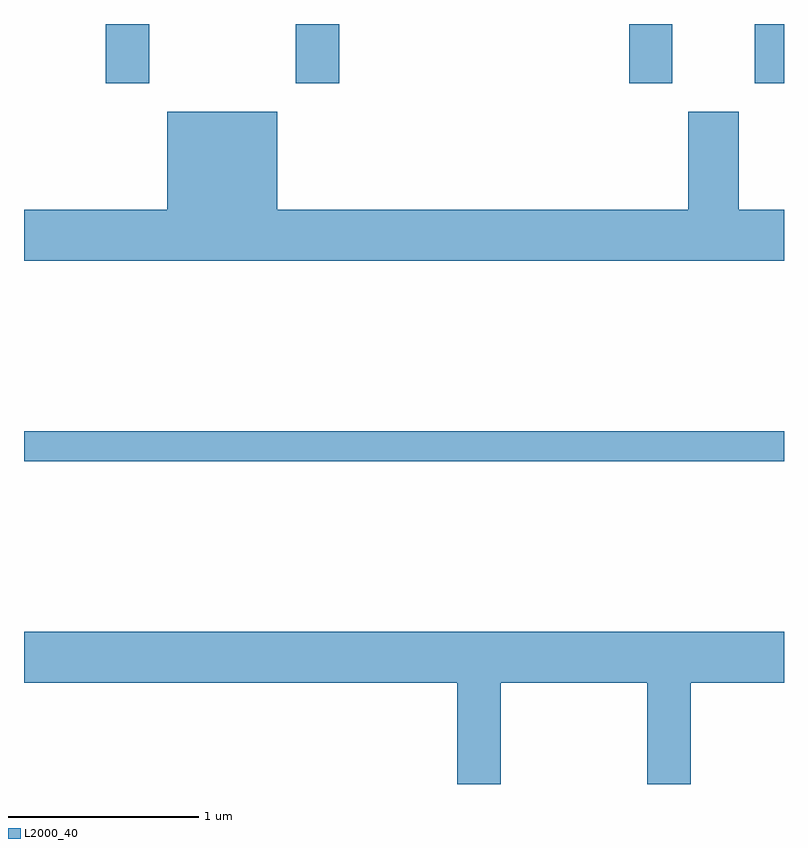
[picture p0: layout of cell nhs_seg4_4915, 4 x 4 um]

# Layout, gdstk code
import gdstk
lib = gdstk.Library(unit=1e-6, precision=1e-09)
def R(c, l, rs):  # rectangles x0, y0, x1, y1
    for r in rs: c.add(gdstk.rectangle(r[:2], r[2:], *l))
def P(c, l, *ps):  # polygons
    for p in ps: c.add(gdstk.Polygon(p, *l))
L2000_40 = (2000, 40)

nhs_seg4_4915 = lib.new_cell('nhs_seg4_4915')
R(nhs_seg4_4915, L2000_40, [(329.611,1293.681,333.611,1293.839), (330.041,1295.671,330.269,1295.982), (331.041,1295.671,331.269,1295.982), (332.796,1295.671,333.024,1295.982), (333.456,1295.671,333.611,1295.982)])
P(nhs_seg4_4915, L2000_40, [(333.611,1295.004),(333.374,1295.004),(333.374,1295.519),(333.106,1295.519),(333.106,1295.004),(330.944,1295.004),(330.944,1295.519),(330.366,1295.519),(330.366,1295.004),(329.611,1295.004),(329.611,1294.736),(333.611,1294.736)],
  [(332.119,1292.516),(332.891,1292.516),(332.891,1291.982),(333.119,1291.982),(333.119,1292.516),(333.611,1292.516),(333.611,1292.784),(329.611,1292.784),(329.611,1292.516),(331.891,1292.516),(331.891,1291.982),(332.119,1291.982)])

lib.write_gds('nhs_seg4_4915.gds')
